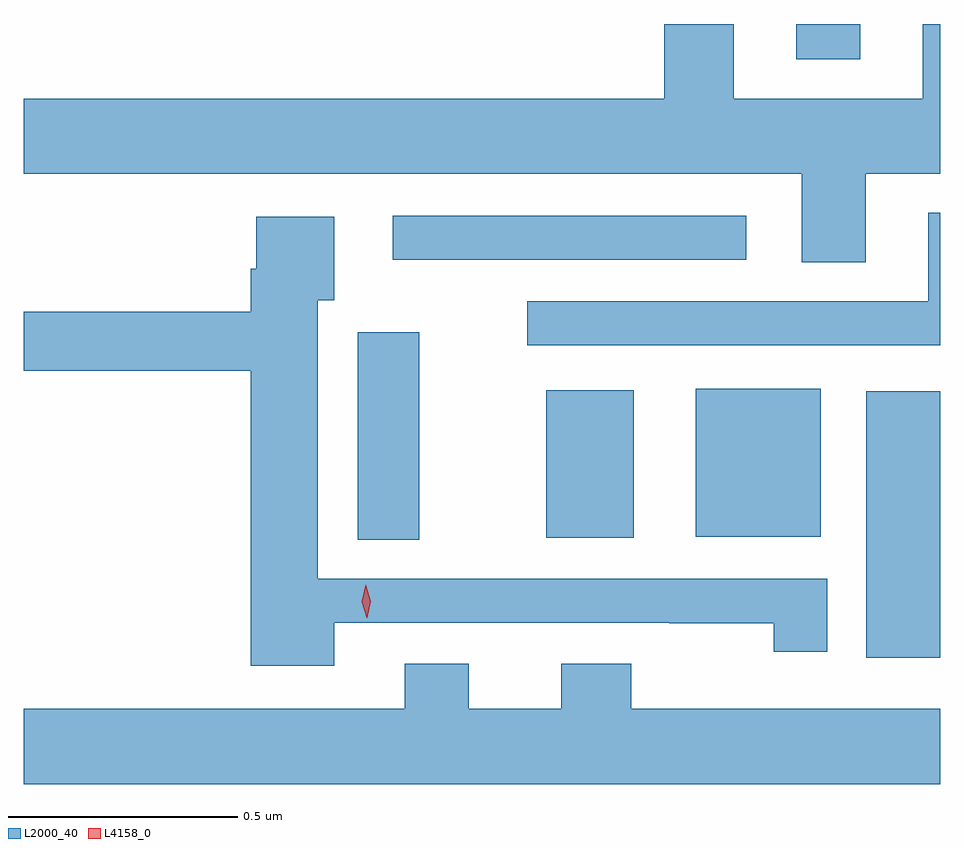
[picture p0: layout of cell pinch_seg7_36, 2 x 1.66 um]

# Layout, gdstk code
import gdstk
lib = gdstk.Library(unit=1e-6, precision=1e-09)
def R(c, l, rs):  # rectangles x0, y0, x1, y1
    for r in rs: c.add(gdstk.rectangle(r[:2], r[2:], *l))
def P(c, l, *ps):  # polygons
    for p in ps: c.add(gdstk.Polygon(p, *l))
L2000_40 = (2000, 40)
L4158_0 = (4158, 0)

pinch_seg7_36 = lib.new_cell('pinch_seg7_36')
R(pinch_seg7_36, L2000_40, [(1059.578,1050.176,1059.739,1050.757), (1058.468,1050.433,1058.602,1050.886), (1058.879,1050.437,1059.07,1050.76), (1059.206,1050.44,1059.478,1050.763), (1058.544,1051.044,1059.316,1051.14), (1059.425,1051.482,1059.565,1051.559)])
P(pinch_seg7_36, L2000_40, [(1059.577,1051.232),(1059.739,1051.232),(1059.739,1051.559),(1059.701,1051.559),(1059.701,1051.396),(1059.289,1051.396),(1059.289,1051.559),(1059.137,1051.559),(1059.137,1051.396),(1057.739,1051.396),(1057.739,1051.232),(1059.437,1051.232),(1059.437,1051.039),(1059.577,1051.039)],
  [(1059.739,1051.147),(1059.713,1051.147),(1059.713,1050.954),(1058.838,1050.954),(1058.838,1050.858),(1059.739,1050.858)],
  [(1058.416,1050.252),(1059.148,1050.252),(1059.148,1050.251),(1059.376,1050.251),(1059.376,1050.189),(1059.493,1050.189),(1059.493,1050.348),(1058.38,1050.348),(1058.38,1050.956),(1058.416,1050.956),(1058.416,1051.138),(1058.246,1051.138),(1058.246,1051.025),(1058.234,1051.025),(1058.234,1050.931),(1057.739,1050.931),(1057.739,1050.802),(1058.234,1050.802),(1058.234,1050.158),(1058.416,1050.158)],
  [(1059.739,1050.064),(1059.065,1050.064),(1059.065,1050.163),(1058.912,1050.163),(1058.912,1050.064),(1058.71,1050.064),(1058.71,1050.163),(1058.57,1050.163),(1058.57,1050.064),(1057.739,1050.064),(1057.739,1049.9),(1059.739,1049.9)])
P(pinch_seg7_36, L4158_0, [(1058.487,1050.263),(1058.476,1050.298),(1058.485,1050.335),(1058.485,1050.335),(1058.485,1050.335),(1058.496,1050.299),(1058.488,1050.263),(1058.488,1050.263)])

lib.write_gds('pinch_seg7_36.gds')
